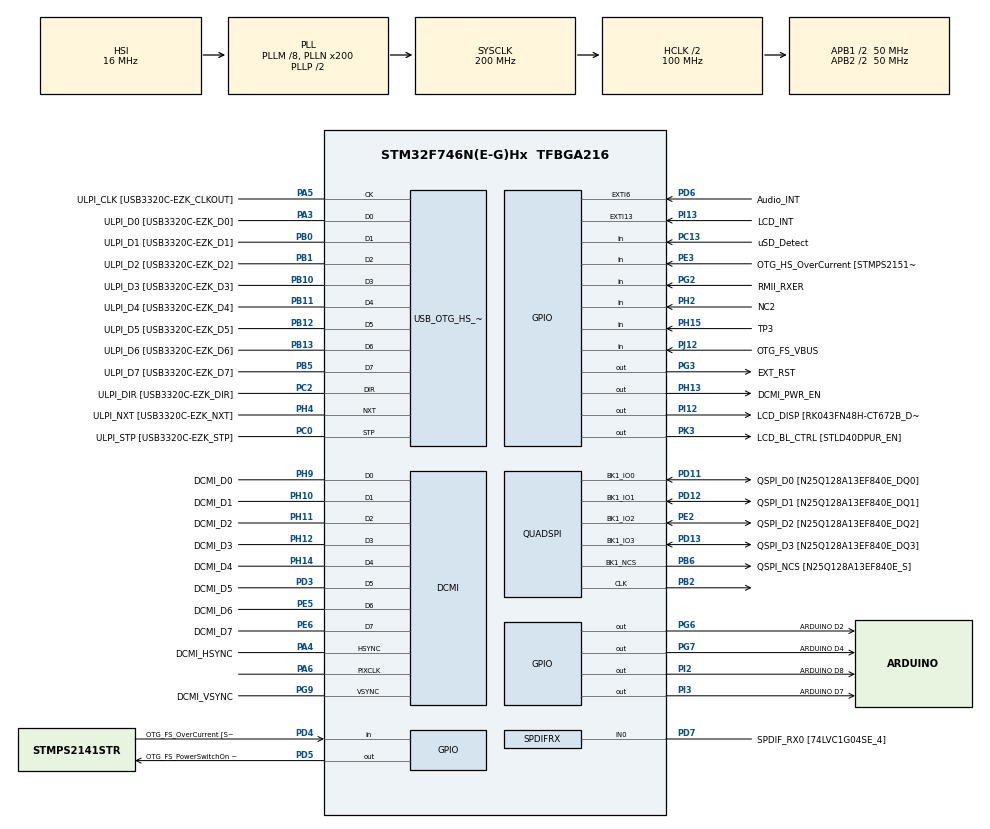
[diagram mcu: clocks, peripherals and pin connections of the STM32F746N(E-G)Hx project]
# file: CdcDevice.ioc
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FREERTOS.INCLUDE_vTaskDelayUntil=1
FREERTOS.Tasks01=defaultTask,0,128,StartDefaultTask;myTaskUSBSend,0,1280,StartTaskUSBSend
Mcu.Family=STM32F7
Mcu.Name=STM32F746N(E-G)Hx
Mcu.Package=TFBGA216
NVIC.OTG_HS_IRQn=true\:5\:0\:false
NVIC.PriorityGroup=NVIC_PRIORITYGROUP_4
PA0/WKUP.GPIO_Label=ARDUINO A0
PA0/WKUP.GPIO_Mode=GPIO_MODE_ANALOG
PA0/WKUP.GPIO_PuPd=GPIO_NOPULL
PA0/WKUP.Signal=ADCx_IN0
PA1.GPIO_Label=RMII_REF_CLK [LAN8742A-CZ-TR_REFCLK0]
PA1.GPIO_Mode=GPIO_MODE_AF_PP
PA1.GPIO_PuPd=GPIO_NOPULL
PA1.GPIO_Speed=GPIO_SPEED_HIGH
PA1.Signal=ETH_REF_CLK
PA10.GPIO_Label=OTG_FS_ID
PA10.GPIO_Mode=GPIO_MODE_AF_PP
PA10.GPIO_PuPd=GPIO_NOPULL
PA10.GPIO_Speed=GPIO_SPEED_HIGH
PA10.Signal=USB_OTG_FS_ID
PA11.GPIO_Label=OTG_FS_N
PA11.GPIO_Mode=GPIO_MODE_AF_PP
PA11.GPIO_PuPd=GPIO_NOPULL
PA11.GPIO_Speed=GPIO_SPEED_HIGH
PA11.Signal=USB_OTG_FS_DM
PA12.GPIO_Label=OTG_FS_P
PA12.GPIO_Mode=GPIO_MODE_AF_PP
PA12.GPIO_PuPd=GPIO_NOPULL
PA12.GPIO_Speed=GPIO_SPEED_HIGH
PA12.Signal=USB_OTG_FS_DP
PA13.GPIO_Label=SWDIO
PA13.Signal=SYS_JTMS-SWDIO
PA14.GPIO_Label=SWCLK
PA14.Signal=SYS_JTCK-SWCLK
PA15.GPIO_Label=ARDUINO PWM/D9
PA15.GPIO_ModeDefaultPP=GPIO_MODE_AF_PP
PA15.GPIO_PuPd=GPIO_NOPULL
PA15.GPIO_Speed=GPIO_SPEED_LOW
PA15.Signal=S_TIM2_CH1_ETR
PA2.GPIO_Label=RMII_MDIO [LAN8742A-CZ-TR_MDIO]
PA2.GPIO_Mode=GPIO_MODE_AF_PP
PA2.GPIO_PuPd=GPIO_NOPULL
PA2.GPIO_Speed=GPIO_SPEED_HIGH
PA2.Signal=ETH_MDIO
PA3.GPIO_Label=ULPI_D0 [USB3320C-EZK_D0]
PA3.GPIO_Mode=GPIO_MODE_AF_PP
PA3.GPIO_PuPd=GPIO_NOPULL
PA3.GPIO_Speed=GPIO_SPEED_HIGH
PA3.Mode=Device_HS
PA3.Signal=USB_OTG_HS_ULPI_D0
PA4.GPIO_Label=DCMI_HSYNC
PA4.GPIO_Mode=GPIO_MODE_AF_PP
PA4.GPIO_PuPd=GPIO_NOPULL
PA4.GPIO_Speed=GPIO_SPEED_LOW
PA4.Mode=Slave_8_bits_External_Synchro
PA4.Signal=DCMI_HSYNC
PA5.GPIO_Label=ULPI_CLK [USB3320C-EZK_CLKOUT]
PA5.GPIO_Mode=GPIO_MODE_AF_PP
PA5.GPIO_PuPd=GPIO_NOPULL
PA5.GPIO_Speed=GPIO_SPEED_HIGH
PA5.Mode=Device_HS
PA5.Signal=USB_OTG_HS_ULPI_CK
PA6.Mode=Slave_8_bits_External_Synchro
PA6.Signal=DCMI_PIXCLK
PA7.GPIO_Label=RMII_CRS_DV [LAN8742A-CZ-TR_CRS_DV]
PA7.GPIO_Mode=GPIO_MODE_AF_PP
PA7.GPIO_PuPd=GPIO_NOPULL
PA7.GPIO_Speed=GPIO_SPEED_HIGH
PA7.Signal=ETH_CRS_DV
PA8.GPIO_Label=ARDUINO PWM/D5
PA8.GPIO_ModeDefaultPP=GPIO_MODE_AF_PP
PA8.GPIO_PuPd=GPIO_NOPULL
PA8.GPIO_Speed=GPIO_SPEED_LOW
PA8.Signal=S_TIM1_CH1
PA9.GPIO_Label=VCP_TX [STM32F103CBT6_PA3]
PA9.GPIO_Mode=GPIO_MODE_AF_PP
PA9.GPIO_PuPd=GPIO_NOPULL
PA9.GPIO_Speed=GPIO_SPEED_LOW
PA9.Signal=USART1_TX
PB0.GPIO_Label=ULPI_D1 [USB3320C-EZK_D1]
PB0.GPIO_Mode=GPIO_MODE_AF_PP
PB0.GPIO_PuPd=GPIO_NOPULL
PB0.GPIO_Speed=GPIO_SPEED_HIGH
PB0.Mode=Device_HS
PB0.Signal=USB_OTG_HS_ULPI_D1
PB1.GPIO_Label=ULPI_D2 [USB3320C-EZK_D2]
PB1.GPIO_Mode=GPIO_MODE_AF_PP
PB1.GPIO_PuPd=GPIO_NOPULL
PB1.GPIO_Speed=GPIO_SPEED_HIGH
PB1.Mode=Device_HS
PB1.Signal=USB_OTG_HS_ULPI_D2
PB10.GPIO_Label=ULPI_D3 [USB3320C-EZK_D3]
PB10.GPIO_Mode=GPIO_MODE_AF_PP
PB10.GPIO_PuPd=GPIO_NOPULL
PB10.GPIO_Speed=GPIO_SPEED_HIGH
PB10.Mode=Device_HS
PB10.Signal=USB_OTG_HS_ULPI_D3
PB11.GPIO_Label=ULPI_D4 [USB3320C-EZK_D4]
PB11.GPIO_Mode=GPIO_MODE_AF_PP
PB11.GPIO_PuPd=GPIO_NOPULL
PB11.GPIO_Speed=GPIO_SPEED_HIGH
PB11.Mode=Device_HS
PB11.Signal=USB_OTG_HS_ULPI_D4
PB12.GPIO_Label=ULPI_D5 [USB3320C-EZK_D5]
PB12.GPIO_Mode=GPIO_MODE_AF_PP
PB12.GPIO_PuPd=GPIO_NOPULL
PB12.GPIO_Speed=GPIO_SPEED_HIGH
PB12.Mode=Device_HS
PB12.Signal=USB_OTG_HS_ULPI_D5
PB13.GPIO_Label=ULPI_D6 [USB3320C-EZK_D6]
PB13.GPIO_Mode=GPIO_MODE_AF_PP
PB13.GPIO_PuPd=GPIO_NOPULL
PB13.GPIO_Speed=GPIO_SPEED_HIGH
PB13.Mode=Device_HS
PB13.Signal=USB_OTG_HS_ULPI_D6
PB14.GPIO_Label=ARDUINO MISO/D12
PB14.GPIO_Mode=GPIO_MODE_AF_PP
PB14.GPIO_PuPd=GPIO_NOPULL
PB14.GPIO_Speed=GPIO_SPEED_LOW
PB14.Signal=SPI2_MISO
PB15.GPIO_Label=ARDUINO MOSI/PWM/D11
PB15.GPIO_Mode=GPIO_MODE_AF_PP
PB15.GPIO_PuPd=GPIO_NOPULL
PB15.GPIO_Speed=GPIO_SPEED_LOW
PB15.Signal=SPI2_MOSI
PB2.Mode=Single Bank 1
PB2.Signal=QUADSPI_CLK
PB3.GPIO_Label=SWO
PB3.Signal=SYS_JTDO-SWO
PB4.GPIO_Label=ARDUINO PWM/D3
PB4.GPIO_ModeDefaultPP=GPIO_MODE_AF_PP
PB4.GPIO_PuPd=GPIO_NOPULL
PB4.GPIO_Speed=GPIO_SPEED_LOW
PB4.Signal=S_TIM3_CH1
PB5.GPIO_Label=ULPI_D7 [USB3320C-EZK_D7]
PB5.GPIO_Mode=GPIO_MODE_AF_PP
PB5.GPIO_PuPd=GPIO_NOPULL
PB5.GPIO_Speed=GPIO_SPEED_HIGH
PB5.Mode=Device_HS
PB5.Signal=USB_OTG_HS_ULPI_D7
PB6.GPIO_Label=QSPI_NCS [N25Q128A13EF840E_S]
PB6.GPIO_Mode=GPIO_MODE_AF_PP
PB6.GPIO_PuPd=GPIO_NOPULL
PB6.GPIO_Speed=GPIO_SPEED_HIGH
PB6.Mode=Single Bank 1
PB6.Signal=QUADSPI_BK1_NCS
PB7.GPIO_Label=VCP_RX [STM32F103CBT6_PA2]
PB7.GPIO_Mode=GPIO_MODE_AF_PP
PB7.GPIO_PuPd=GPIO_NOPULL
PB7.GPIO_Speed=GPIO_SPEED_LOW
PB7.Signal=USART1_RX
PB8.GPIO_Label=ARDUINO SCL/D15
PB8.GPIO_Mode=GPIO_MODE_AF_OD
PB8.GPIO_PuPd=GPIO_NOPULL
PB8.GPIO_PuPdOD=GPIO_PULLUP
PB8.GPIO_Speed=GPIO_SPEED_LOW
PB8.Signal=I2C1_SCL
PB9.GPIO_Label=ARDUINO SDA/D14
PB9.GPIO_Mode=GPIO_MODE_AF_OD
PB9.GPIO_PuPd=GPIO_NOPULL
PB9.GPIO_PuPdOD=GPIO_PULLUP
PB9.GPIO_Speed=GPIO_SPEED_LOW
PB9.Signal=I2C1_SDA
PC0.GPIO_Label=ULPI_STP [USB3320C-EZK_STP]
PC0.GPIO_Mode=GPIO_MODE_AF_PP
PC0.GPIO_PuPd=GPIO_NOPULL
PC0.GPIO_Speed=GPIO_SPEED_HIGH
PC0.Mode=Device_HS
PC0.Signal=USB_OTG_HS_ULPI_STP
PC1.GPIO_Label=RMII_MDC [LAN8742A-CZ-TR_MDC]
PC1.GPIO_Mode=GPIO_MODE_AF_PP
PC1.GPIO_PuPd=GPIO_NOPULL
PC1.GPIO_Speed=GPIO_SPEED_HIGH
PC1.Signal=ETH_MDC
PC10.GPIO_Label=SDMMC_D2
PC10.GPIO_Mode=GPIO_MODE_AF_PP
PC10.GPIO_PuPd=GPIO_NOPULL
PC10.GPIO_Speed_High_Default=GPIO_SPEED_HIGH
PC10.Signal=SDMMC1_D2
PC11.GPIO_Label=SDMMC_D3
PC11.GPIO_Mode=GPIO_MODE_AF_PP
PC11.GPIO_PuPd=GPIO_NOPULL
PC11.GPIO_Speed_High_Default=GPIO_SPEED_HIGH
PC11.Signal=SDMMC1_D3
PC12.GPIO_Label=SDMMC_CK
PC12.GPIO_Mode=GPIO_MODE_AF_PP
PC12.GPIO_PuPd=GPIO_NOPULL
PC12.GPIO_Speed_High_Default=GPIO_SPEED_HIGH
PC12.Signal=SDMMC1_CK
PC13.GPIO_Label=uSD_Detect
PC13.GPIO_Mode=GPIO_MODE_INPUT
PC13.GPIO_PuPd=GPIO_NOPULL
PC13.Signal=GPIO_Input
PC14/OSC32_IN.GPIO_Label=RCC_OSC32_IN
PC14/OSC32_IN.Signal=RCC_OSC32_IN
PC15/OSC32_OUT.GPIO_Label=RCC_OSC32_OUT
PC15/OSC32_OUT.Signal=RCC_OSC32_OUT
PC2.GPIO_Label=ULPI_DIR [USB3320C-EZK_DIR]
PC2.GPIO_Mode=GPIO_MODE_AF_PP
PC2.GPIO_PuPd=GPIO_NOPULL
PC2.GPIO_Speed=GPIO_SPEED_HIGH
PC2.Mode=Device_HS
PC2.Signal=USB_OTG_HS_ULPI_DIR
PC3.GPIO_Label=FMC_SDCKE0 [MT48LC4M32B2B5-6A_CKE]
PC3.GPIO_Mode=GPIO_MODE_AF_PP
PC3.GPIO_PuPd=GPIO_NOPULL
PC3.GPIO_Speed_High_Default=GPIO_SPEED_HIGH
PC3.Signal=FMC_SDCKE0
PC4.GPIO_Label=RMII_RXD0 [LAN8742A-CZ-TR_RXD0]
PC4.GPIO_Mode=GPIO_MODE_AF_PP
PC4.GPIO_PuPd=GPIO_NOPULL
PC4.GPIO_Speed=GPIO_SPEED_HIGH
PC4.Signal=ETH_RXD0
PC5.GPIO_Label=RMII_RXD1 [LAN8742A-CZ-TR_RXD1]
PC5.GPIO_Mode=GPIO_MODE_AF_PP
PC5.GPIO_PuPd=GPIO_NOPULL
PC5.GPIO_Speed=GPIO_SPEED_HIGH
PC5.Signal=ETH_RXD1
PC6.GPIO_Label=ARDUINO TX/D1
PC6.GPIO_Mode=GPIO_MODE_AF_PP
PC6.GPIO_PuPd=GPIO_NOPULL
PC6.GPIO_Speed=GPIO_SPEED_HIGH
PC6.Signal=USART6_TX
PC7.GPIO_Label=ARDUINO RX/D0
PC7.GPIO_Mode=GPIO_MODE_AF_PP
PC7.GPIO_PuPd=GPIO_NOPULL
PC7.GPIO_Speed=GPIO_SPEED_HIGH
PC7.Signal=USART6_RX
PC8.Signal=SDMMC1_D0
PC9.Signal=SDMMC1_D1
PD0.GPIO_Label=FMC_D2 [MT48LC4M32B2B5-6A_DQ2]
PD0.GPIO_Mode=GPIO_MODE_AF_PP
PD0.GPIO_PuPd=GPIO_NOPULL
PD0.GPIO_Speed_High_Default=GPIO_SPEED_HIGH
PD0.Signal=FMC_D2_DA2
PD1.GPIO_Label=FMC_D3 [MT48LC4M32B2B5-6A_DQ3]
PD1.GPIO_Mode=GPIO_MODE_AF_PP
PD1.GPIO_PuPd=GPIO_NOPULL
PD1.GPIO_Speed_High_Default=GPIO_SPEED_HIGH
PD1.Signal=FMC_D3_DA3
PD10.GPIO_Label=FMC_D15 [MT48LC4M32B2B5-6A_DQ15]
PD10.GPIO_Mode=GPIO_MODE_AF_PP
PD10.GPIO_PuPd=GPIO_NOPULL
PD10.GPIO_Speed_High_Default=GPIO_SPEED_HIGH
PD10.Signal=FMC_D15_DA15
PD11.GPIO_Label=QSPI_D0 [N25Q128A13EF840E_DQ0]
PD11.GPIO_Mode=GPIO_MODE_AF_PP
PD11.GPIO_PuPd=GPIO_NOPULL
PD11.GPIO_Speed=GPIO_SPEED_HIGH
PD11.Mode=Single Bank 1
PD11.Signal=QUADSPI_BK1_IO0
PD12.GPIO_Label=QSPI_D1 [N25Q128A13EF840E_DQ1]
PD12.GPIO_Mode=GPIO_MODE_AF_PP
PD12.GPIO_PuPd=GPIO_NOPULL
PD12.GPIO_Speed=GPIO_SPEED_HIGH
PD12.Mode=Single Bank 1
PD12.Signal=QUADSPI_BK1_IO1
PD13.GPIO_Label=QSPI_D3 [N25Q128A13EF840E_DQ3]
PD13.GPIO_Mode=GPIO_MODE_AF_PP
PD13.GPIO_PuPd=GPIO_NOPULL
PD13.GPIO_Speed=GPIO_SPEED_HIGH
PD13.Mode=Single Bank 1
PD13.Signal=QUADSPI_BK1_IO3
PD14.GPIO_Label=FMC_D0 [MT48LC4M32B2B5-6A_DQ0]
PD14.GPIO_Mode=GPIO_MODE_AF_PP
PD14.GPIO_PuPd=GPIO_NOPULL
PD14.GPIO_Speed_High_Default=GPIO_SPEED_HIGH
PD14.Signal=FMC_D0_DA0
PD15.GPIO_Label=FMC_D1 [MT48LC4M32B2B5-6A_DQ1]
PD15.GPIO_Mode=GPIO_MODE_AF_PP
PD15.GPIO_PuPd=GPIO_NOPULL
PD15.GPIO_Speed_High_Default=GPIO_SPEED_HIGH
PD15.Signal=FMC_D1_DA1
PD2.GPIO_Label=SDMMC_D0
PD2.GPIO_Mode=GPIO_MODE_AF_PP
PD2.GPIO_PuPd=GPIO_NOPULL
PD2.GPIO_Speed_High_Default=GPIO_SPEED_HIGH
PD2.Signal=SDMMC1_CMD
PD3.GPIO_Label=DCMI_D5
PD3.GPIO_Mode=GPIO_MODE_AF_PP
PD3.GPIO_PuPd=GPIO_NOPULL
PD3.GPIO_Speed=GPIO_SPEED_LOW
PD3.Mode=Slave_8_bits_External_Synchro
PD3.Signal=DCMI_D5
PD4.GPIO_Label=OTG_FS_OverCurrent [STMPS2141STR_Fault]
PD4.GPIO_Mode=GPIO_MODE_INPUT
PD4.GPIO_PuPd=GPIO_NOPULL
PD4.Signal=GPIO_Input
PD5.GPIO_Label=OTG_FS_PowerSwitchOn [STMPS2141STR_EN]
PD5.GPIO_ModeDefaultOutputPP=GPIO_MODE_OUTPUT_PP
PD5.GPIO_PuPd=GPIO_NOPULL
PD5.GPIO_Speed=GPIO_SPEED_LOW
PD5.Signal=GPIO_Output
PD6.GPIO_Label=Audio_INT
PD6.GPIO_ModeDefaultEXTI=GPIO_MODE_EVT_RISING
PD6.GPIO_PuPd=GPIO_NOPULL
PD6.Signal=GPXTI6
PD7.GPIO_Label=SPDIF_RX0 [74LVC1G04SE_4]
PD7.GPIO_Mode=GPIO_MODE_AF_PP
PD7.GPIO_PuPd=GPIO_NOPULL
PD7.GPIO_Speed=GPIO_SPEED_LOW
PD7.Mode=IN0
PD7.Signal=SPDIFRX_IN0
PD8.GPIO_Label=FMC_D13 [MT48LC4M32B2B5-6A_DQ13]
PD8.GPIO_Mode=GPIO_MODE_AF_PP
PD8.GPIO_PuPd=GPIO_NOPULL
PD8.GPIO_Speed_High_Default=GPIO_SPEED_HIGH
PD8.Signal=FMC_D13_DA13
PD9.GPIO_Label=FMC_D14 [MT48LC4M32B2B5-6A_DQ14]
PD9.GPIO_Mode=GPIO_MODE_AF_PP
PD9.GPIO_PuPd=GPIO_NOPULL
PD9.GPIO_Speed_High_Default=GPIO_SPEED_HIGH
PD9.Signal=FMC_D14_DA14
PE0.GPIO_Label=FMC_NBL0 [MT48LC4M32B2B5-6A_DQM0]
PE0.GPIO_Mode=GPIO_MODE_AF_PP
PE0.GPIO_PuPd=GPIO_NOPULL
PE0.GPIO_Speed_High_Default=GPIO_SPEED_HIGH
PE0.Signal=FMC_NBL0
PE1.GPIO_Label=FMC_NBL1 [MT48LC4M32B2B5-6A_DQM1]
PE1.GPIO_Mode=GPIO_MODE_AF_PP
PE1.GPIO_PuPd=GPIO_NOPULL
PE1.GPIO_Speed_High_Default=GPIO_SPEED_HIGH
PE1.Signal=FMC_NBL1
PE10.GPIO_Label=FMC_D7 [MT48LC4M32B2B5-6A_DQ7]
PE10.GPIO_Mode=GPIO_MODE_AF_PP
PE10.GPIO_PuPd=GPIO_NOPULL
PE10.GPIO_Speed_High_Default=GPIO_SPEED_HIGH
PE10.Signal=FMC_D7_DA7
PE11.GPIO_Label=FMC_D8 [MT48LC4M32B2B5-6A_DQ8]
PE11.GPIO_Mode=GPIO_MODE_AF_PP
PE11.GPIO_PuPd=GPIO_NOPULL
PE11.GPIO_Speed_High_Default=GPIO_SPEED_HIGH
PE11.Signal=FMC_D8_DA8
PE12.GPIO_Label=FMC_D9 [MT48LC4M32B2B5-6A_DQ9]
PE12.GPIO_Mode=GPIO_MODE_AF_PP
PE12.GPIO_PuPd=GPIO_NOPULL
PE12.GPIO_Speed_High_Default=GPIO_SPEED_HIGH
PE12.Signal=FMC_D9_DA9
PE13.GPIO_Label=FMC_D10 [MT48LC4M32B2B5-6A_DQ10]
PE13.GPIO_Mode=GPIO_MODE_AF_PP
PE13.GPIO_PuPd=GPIO_NOPULL
PE13.GPIO_Speed_High_Default=GPIO_SPEED_HIGH
PE13.Signal=FMC_D10_DA10
PE14.GPIO_Label=FMC_D11 [MT48LC4M32B2B5-6A_DQ11]
PE14.GPIO_Mode=GPIO_MODE_AF_PP
PE14.GPIO_PuPd=GPIO_NOPULL
PE14.GPIO_Speed_High_Default=GPIO_SPEED_HIGH
PE14.Signal=FMC_D11_DA11
PE15.GPIO_Label=FMC_D12 [MT48LC4M32B2B5-6A_DQ12]
PE15.GPIO_Mode=GPIO_MODE_AF_PP
PE15.GPIO_PuPd=GPIO_NOPULL
PE15.GPIO_Speed_High_Default=GPIO_SPEED_HIGH
PE15.Signal=FMC_D12_DA12
PE2.GPIO_Label=QSPI_D2 [N25Q128A13EF840E_DQ2]
PE2.GPIO_Mode=GPIO_MODE_AF_PP
PE2.GPIO_PuPd=GPIO_NOPULL
PE2.GPIO_Speed=GPIO_SPEED_HIGH
PE2.Mode=Single Bank 1
PE2.Signal=QUADSPI_BK1_IO2
PE3.GPIO_Label=OTG_HS_OverCurrent [STMPS2151STR_FAULT]
PE3.GPIO_Mode=GPIO_MODE_INPUT
PE3.GPIO_PuPd=GPIO_NOPULL
PE3.Signal=GPIO_Input
PE4.GPIO_Label=LCD_B0 [RK043FN48H-CT672B_B0]
PE4.GPIO_Mode=GPIO_MODE_AF_PP
PE4.GPIO_PuPd=GPIO_NOPULL
PE4.GPIO_Speed=GPIO_SPEED_LOW
PE4.Signal=LTDC_B0
PE5.GPIO_Label=DCMI_D6
PE5.GPIO_Mode=GPIO_MODE_AF_PP
PE5.GPIO_PuPd=GPIO_NOPULL
PE5.GPIO_Speed=GPIO_SPEED_LOW
PE5.Mode=Slave_8_bits_External_Synchro
PE5.Signal=DCMI_D6
PE6.GPIO_Label=DCMI_D7
PE6.GPIO_Mode=GPIO_MODE_AF_PP
PE6.GPIO_PuPd=GPIO_NOPULL
PE6.GPIO_Speed=GPIO_SPEED_LOW
PE6.Mode=Slave_8_bits_External_Synchro
PE6.Signal=DCMI_D7
PE7.GPIO_Label=FMC_D4 [MT48LC4M32B2B5-6A_DQ4]
PE7.GPIO_Mode=GPIO_MODE_AF_PP
PE7.GPIO_PuPd=GPIO_NOPULL
PE7.GPIO_Speed_High_Default=GPIO_SPEED_HIGH
PE7.Signal=FMC_D4_DA4
PE8.GPIO_Label=FMC_D5 [MT48LC4M32B2B5-6A_DQ5]
PE8.GPIO_Mode=GPIO_MODE_AF_PP
PE8.GPIO_PuPd=GPIO_NOPULL
PE8.GPIO_Speed_High_Default=GPIO_SPEED_HIGH
PE8.Signal=FMC_D5_DA5
PE9.GPIO_Label=FMC_D6 [MT48LC4M32B2B5-6A_DQ6]
PE9.GPIO_Mode=GPIO_MODE_AF_PP
PE9.GPIO_PuPd=GPIO_NOPULL
PE9.GPIO_Speed_High_Default=GPIO_SPEED_HIGH
PE9.Signal=FMC_D6_DA6
PF0.GPIO_Label=FMC_A0 [MT48LC4M32B2B5-6A_A0]
PF0.GPIO_Mode=GPIO_MODE_AF_PP
PF0.GPIO_PuPd=GPIO_NOPULL
PF0.GPIO_Speed_High_Default=GPIO_SPEED_HIGH
PF0.Signal=FMC_A0
PF1.GPIO_Label=FMC_A1 [MT48LC4M32B2B5-6A_A1]
PF1.GPIO_Mode=GPIO_MODE_AF_PP
PF1.GPIO_PuPd=GPIO_NOPULL
PF1.GPIO_Speed_High_Default=GPIO_SPEED_HIGH
PF1.Signal=FMC_A1
PF10.GPIO_Label=ARDUINO A1
PF10.GPIO_Mode=GPIO_MODE_ANALOG
PF10.GPIO_PuPd=GPIO_NOPULL
PF10.Signal=ADC3_IN8
PF11.GPIO_Label=FMC_SDNRAS [MT48LC4M32B2B5-6A_RAS]
PF11.GPIO_Mode=GPIO_MODE_AF_PP
PF11.GPIO_PuPd=GPIO_NOPULL
PF11.GPIO_Speed_High_Default=GPIO_SPEED_HIGH
PF11.Signal=FMC_SDNRAS
PF12.GPIO_Label=FMC_A6 [MT48LC4M32B2B5-6A_A6]
PF12.GPIO_Mode=GPIO_MODE_AF_PP
PF12.GPIO_PuPd=GPIO_NOPULL
PF12.GPIO_Speed_High_Default=GPIO_SPEED_HIGH
PF12.Signal=FMC_A6
PF13.GPIO_Label=FMC_A7 [MT48LC4M32B2B5-6A_A7]
PF13.GPIO_Mode=GPIO_MODE_AF_PP
PF13.GPIO_PuPd=GPIO_NOPULL
PF13.GPIO_Speed_High_Default=GPIO_SPEED_HIGH
PF13.Signal=FMC_A7
PF14.GPIO_Label=FMC_A8 [MT48LC4M32B2B5-6A_A8]
PF14.GPIO_Mode=GPIO_MODE_AF_PP
PF14.GPIO_PuPd=GPIO_NOPULL
PF14.GPIO_Speed_High_Default=GPIO_SPEED_HIGH
PF14.Signal=FMC_A8
PF15.GPIO_Label=FMC_A9 [MT48LC4M32B2B5-6A_A9]
PF15.GPIO_Mode=GPIO_MODE_AF_PP
PF15.GPIO_PuPd=GPIO_NOPULL
PF15.GPIO_Speed_High_Default=GPIO_SPEED_HIGH
PF15.Signal=FMC_A9
PF2.GPIO_Label=FMC_A2 [MT48LC4M32B2B5-6A_A2]
PF2.GPIO_Mode=GPIO_MODE_AF_PP
PF2.GPIO_PuPd=GPIO_NOPULL
PF2.GPIO_Speed_High_Default=GPIO_SPEED_HIGH
PF2.Signal=FMC_A2
PF3.GPIO_Label=FMC_A3 [MT48LC4M32B2B5-6A_A3]
PF3.GPIO_Mode=GPIO_MODE_AF_PP
PF3.GPIO_PuPd=GPIO_NOPULL
PF3.GPIO_Speed_High_Default=GPIO_SPEED_HIGH
PF3.Signal=FMC_A3
PF4.GPIO_Label=FMC_A4 [MT48LC4M32B2B5-6A_A4]
PF4.GPIO_Mode=GPIO_MODE_AF_PP
PF4.GPIO_PuPd=GPIO_NOPULL
PF4.GPIO_Speed_High_Default=GPIO_SPEED_HIGH
PF4.Signal=FMC_A4
PF5.GPIO_Label=FMC_A5 [MT48LC4M32B2B5-6A_A5]
PF5.GPIO_Mode=GPIO_MODE_AF_PP
PF5.GPIO_PuPd=GPIO_NOPULL
PF5.GPIO_Speed_High_Default=GPIO_SPEED_HIGH
PF5.Signal=FMC_A5
PF6.GPIO_Label=ARDUINO A5
PF6.GPIO_Mode=GPIO_MODE_ANALOG
PF6.GPIO_PuPd=GPIO_NOPULL
PF6.Signal=ADC3_IN4
PF7.GPIO_Label=ARDUINO A4
PF7.GPIO_Mode=GPIO_MODE_ANALOG
PF7.GPIO_PuPd=GPIO_NOPULL
PF7.Signal=ADC3_IN5
PF8.GPIO_Label=ARDUINO A3
PF8.GPIO_Mode=GPIO_MODE_ANALOG
PF8.GPIO_PuPd=GPIO_NOPULL
PF8.Signal=ADC3_IN6
PF9.GPIO_Label=ARDUINO A2
PF9.GPIO_Mode=GPIO_MODE_ANALOG
PF9.GPIO_PuPd=GPIO_NOPULL
PF9.Signal=ADC3_IN7
PG0.GPIO_Label=FMC_A10 [MT48LC4M32B2B5-6A_A10]
PG0.GPIO_Mode=GPIO_MODE_AF_PP
PG0.GPIO_PuPd=GPIO_NOPULL
PG0.GPIO_Speed_High_Default=GPIO_SPEED_HIGH
PG0.Signal=FMC_A10
PG1.GPIO_Label=FMC_A11 [MT48LC4M32B2B5-6A_A11]
PG1.GPIO_Mode=GPIO_MODE_AF_PP
PG1.GPIO_PuPd=GPIO_NOPULL
PG1.GPIO_Speed_High_Default=GPIO_SPEED_HIGH
PG1.Signal=FMC_A11
PG10.GPIO_Label=SAI2_SDB [WM8994ECS/R_ADCDAT1]
PG10.GPIO_Mode=GPIO_MODE_AF_PP
PG10.GPIO_PuPd=GPIO_NOPULL
PG10.GPIO_Speed=GPIO_SPEED_LOW
PG10.Signal=SAI2_SD_B
PG11.GPIO_Label=RMII_TX_EN [LAN8742A-CZ-TR_TXEN]
PG11.GPIO_Mode=GPIO_MODE_AF_PP
PG11.GPIO_PuPd=GPIO_NOPULL
PG11.GPIO_Speed=GPIO_SPEED_HIGH
PG11.Signal=ETH_TX_EN
PG12.GPIO_Label=LCD_B4 [RK043FN48H-CT672B_B4]
PG12.GPIO_Mode=GPIO_MODE_AF_PP
PG12.GPIO_PuPd=GPIO_NOPULL
PG12.GPIO_Speed=GPIO_SPEED_LOW
PG12.Signal=LTDC_B4
PG13.GPIO_Label=RMII_TXD0 [LAN8742A-CZ-TR_TXD0]
PG13.GPIO_Mode=GPIO_MODE_AF_PP
PG13.GPIO_PuPd=GPIO_NOPULL
PG13.GPIO_Speed=GPIO_SPEED_HIGH
PG13.Signal=ETH_TXD0
PG14.GPIO_Label=RMII_TXD1 [LAN8742A-CZ-TR_TXD1]
PG14.GPIO_Mode=GPIO_MODE_AF_PP
PG14.GPIO_PuPd=GPIO_NOPULL
PG14.GPIO_Speed=GPIO_SPEED_HIGH
PG14.Signal=ETH_TXD1
PG15.GPIO_Label=FMC_SDNCAS [MT48LC4M32B2B5-6A_CAS]
PG15.GPIO_Mode=GPIO_MODE_AF_PP
PG15.GPIO_PuPd=GPIO_NOPULL
PG15.GPIO_Speed_High_Default=GPIO_SPEED_HIGH
PG15.Signal=FMC_SDNCAS
PG2.GPIO_Label=RMII_RXER
PG2.GPIO_Mode=GPIO_MODE_INPUT
PG2.GPIO_PuPd=GPIO_NOPULL
PG2.Signal=GPIO_Input
PG3.GPIO_Label=EXT_RST
PG3.GPIO_ModeDefaultOutputPP=GPIO_MODE_OUTPUT_PP
PG3.GPIO_PuPd=GPIO_NOPULL
PG3.GPIO_Speed=GPIO_SPEED_LOW
PG3.Signal=GPIO_Output
PG4.GPIO_Label=FMC_BA0 [MT48LC4M32B2B5-6A_BA0]
PG4.GPIO_Mode=GPIO_MODE_AF_PP
PG4.GPIO_PuPd=GPIO_NOPULL
PG4.GPIO_Speed_High_Default=GPIO_SPEED_HIGH
PG4.Signal=FMC_A14_BA0
PG5.GPIO_Label=FMC_BA1 [MT48LC4M32B2B5-6A_BA1]
PG5.GPIO_Mode=GPIO_MODE_AF_PP
PG5.GPIO_PuPd=GPIO_NOPULL
PG5.GPIO_Speed_High_Default=GPIO_SPEED_HIGH
PG5.Signal=FMC_A15_BA1
PG6.GPIO_Label=ARDUINO D2
PG6.GPIO_ModeDefaultOutputPP=GPIO_MODE_OUTPUT_PP
PG6.GPIO_PuPd=GPIO_NOPULL
PG6.GPIO_Speed=GPIO_SPEED_LOW
PG6.Signal=GPIO_Output
PG7.GPIO_Label=ARDUINO D4
PG7.GPIO_ModeDefaultOutputPP=GPIO_MODE_OUTPUT_PP
PG7.GPIO_PuPd=GPIO_NOPULL
PG7.GPIO_Speed=GPIO_SPEED_LOW
PG7.Signal=GPIO_Output
PG8.GPIO_Label=FMC_SDCLK [MT48LC4M32B2B5-6A_CLK]
PG8.GPIO_Mode=GPIO_MODE_AF_PP
PG8.GPIO_PuPd=GPIO_NOPULL
PG8.GPIO_Speed_High_Default=GPIO_SPEED_HIGH
PG8.Signal=FMC_SDCLK
PG9.GPIO_Label=DCMI_VSYNC
PG9.GPIO_Mode=GPIO_MODE_AF_PP
PG9.GPIO_PuPd=GPIO_NOPULL
PG9.GPIO_Speed=GPIO_SPEED_LOW
PG9.Mode=Slave_8_bits_External_Synchro
PG9.Signal=DCMI_VSYNC
PH0/OSC_IN.GPIO_Label=OSC_25M [NZ2520SB-25.00M_OUT]
PH0/OSC_IN.Signal=RCC_OSC_IN
PH1/OSC_OUT.Signal=RCC_OSC_OUT
PH10.GPIO_Label=DCMI_D1
PH10.GPIO_Mode=GPIO_MODE_AF_PP
PH10.GPIO_PuPd=GPIO_NOPULL
PH10.GPIO_Speed=GPIO_SPEED_LOW
PH10.Mode=Slave_8_bits_External_Synchro
PH10.Signal=DCMI_D1
PH11.GPIO_Label=DCMI_D2
PH11.GPIO_Mode=GPIO_MODE_AF_PP
PH11.GPIO_PuPd=GPIO_NOPULL
PH11.GPIO_Speed=GPIO_SPEED_LOW
PH11.Mode=Slave_8_bits_External_Synchro
PH11.Signal=DCMI_D2
PH12.GPIO_Label=DCMI_D3
PH12.GPIO_Mode=GPIO_MODE_AF_PP
PH12.GPIO_PuPd=GPIO_NOPULL
PH12.GPIO_Speed=GPIO_SPEED_LOW
PH12.Mode=Slave_8_bits_External_Synchro
PH12.Signal=DCMI_D3
PH13.GPIO_Label=DCMI_PWR_EN
PH13.GPIO_ModeDefaultOutputPP=GPIO_MODE_OUTPUT_PP
PH13.GPIO_PuPd=GPIO_NOPULL
PH13.GPIO_Speed=GPIO_SPEED_LOW
PH13.Signal=GPIO_Output
PH14.GPIO_Label=DCMI_D4
PH14.GPIO_Mode=GPIO_MODE_AF_PP
PH14.GPIO_PuPd=GPIO_NOPULL
PH14.GPIO_Speed=GPIO_SPEED_LOW
PH14.Mode=Slave_8_bits_External_Synchro
PH14.Signal=DCMI_D4
PH15.GPIO_Label=TP3
PH15.GPIO_Mode=GPIO_MODE_INPUT
PH15.GPIO_PuPd=GPIO_NOPULL
PH15.Signal=GPIO_Input
PH2.GPIO_Label=NC2
PH2.GPIO_Mode=GPIO_MODE_INPUT
PH2.GPIO_PuPd=GPIO_NOPULL
PH2.Signal=GPIO_Input
PH3.GPIO_Label=FMC_SDNE0 [MT48LC4M32B2B5-6A_CS]
PH3.GPIO_Mode=GPIO_MODE_AF_PP
PH3.GPIO_PuPd=GPIO_NOPULL
PH3.GPIO_Speed_High_Default=GPIO_SPEED_HIGH
PH3.Signal=FMC_SDNE0
PH4.GPIO_Label=ULPI_NXT [USB3320C-EZK_NXT]
PH4.GPIO_Mode=GPIO_MODE_AF_PP
PH4.GPIO_PuPd=GPIO_NOPULL
PH4.GPIO_Speed=GPIO_SPEED_HIGH
PH4.Mode=Device_HS
PH4.Signal=USB_OTG_HS_ULPI_NXT
PH5.GPIO_Label=FMC_SDNME [MT48LC4M32B2B5-6A_WE]
PH5.GPIO_Mode=GPIO_MODE_AF_PP
PH5.GPIO_PuPd=GPIO_NOPULL
PH5.GPIO_Speed_High_Default=GPIO_SPEED_HIGH
PH5.Signal=FMC_SDNWE
PH6.GPIO_Label=ARDUINO PWM/D6
PH6.GPIO_ModeDefaultPP=GPIO_MODE_AF_PP
PH6.GPIO_PuPd=GPIO_NOPULL
PH6.GPIO_Speed=GPIO_SPEED_LOW
PH6.Signal=S_TIM12_CH1
PH7.GPIO_Label=LCD_SCL [RK043FN48H-CT672B_SCL]
PH7.GPIO_Mode=GPIO_MODE_AF_OD
PH7.GPIO_PuPdOD=GPIO_PULLUP
PH7.GPIO_Speed=GPIO_SPEED_HIGH
PH7.Signal=I2C3_SCL
PH8.GPIO_Label=LCD_SDA [RK043FN48H-CT672B_SDA]
PH8.GPIO_Mode=GPIO_MODE_AF_OD
PH8.GPIO_PuPdOD=GPIO_PULLUP
PH8.GPIO_Speed=GPIO_SPEED_HIGH
PH8.Signal=I2C3_SDA
PH9.GPIO_Label=DCMI_D0
PH9.GPIO_Mode=GPIO_MODE_AF_PP
PH9.GPIO_PuPd=GPIO_NOPULL
PH9.GPIO_Speed=GPIO_SPEED_LOW
PH9.Mode=Slave_8_bits_External_Synchro
PH9.Signal=DCMI_D0
PI0.GPIO_Label=ARDUINO PWM/CS/D10
PI0.GPIO_ModeDefaultPP=GPIO_MODE_AF_PP
PI0.GPIO_PuPd=GPIO_NOPULL
PI0.GPIO_Speed=GPIO_SPEED_LOW
PI0.Signal=S_TIM5_CH4
PI1.GPIO_Label=ARDUINO SCK/D13
PI1.GPIO_Mode=GPIO_MODE_AF_PP
PI1.GPIO_PuPd=GPIO_NOPULL
PI1.GPIO_Speed=GPIO_SPEED_LOW
PI1.Signal=SPI2_SCK
PI10.GPIO_Label=LCD_HSYNC [RK043FN48H-CT672B_HSYNC]
PI10.GPIO_Mode=GPIO_MODE_AF_PP
PI10.GPIO_PuPd=GPIO_NOPULL
PI10.GPIO_Speed=GPIO_SPEED_LOW
PI10.Signal=LTDC_HSYNC
PI11.GPIO_Label=B_USER
PI11.Mode=SYS-WakeUp-4
PI11.Signal=SYS_WKUP4
PI12.GPIO_Label=LCD_DISP [RK043FN48H-CT672B_DISP] 
PI12.GPIO_ModeDefaultOutputPP=GPIO_MODE_OUTPUT_PP
PI12.GPIO_PuPd=GPIO_NOPULL
PI12.GPIO_Speed=GPIO_SPEED_LOW
PI12.Signal=GPIO_Output
PI13.GPIO_Label=LCD_INT
PI13.GPIO_ModeDefaultEXTI=GPIO_MODE_EVT_RISING
PI13.GPIO_PuPd=GPIO_NOPULL
PI13.Signal=GPXTI13
PI14.GPIO_Label=LCD_CLK [RK043FN48H-CT672B_CLK]
PI14.GPIO_Mode=GPIO_MODE_AF_PP
PI14.GPIO_PuPd=GPIO_NOPULL
PI14.GPIO_Speed=GPIO_SPEED_LOW
PI14.Signal=LTDC_CLK
PI15.GPIO_Label=LCD_R0 [RK043FN48H-CT672B_R0]
PI15.GPIO_Mode=GPIO_MODE_AF_PP
PI15.GPIO_PuPd=GPIO_NOPULL
PI15.GPIO_Speed=GPIO_SPEED_LOW
PI15.Signal=LTDC_R0
PI2.GPIO_Label=ARDUINO D8
PI2.GPIO_ModeDefaultOutputPP=GPIO_MODE_OUTPUT_PP
PI2.GPIO_PuPd=GPIO_NOPULL
PI2.GPIO_Speed=GPIO_SPEED_LOW
PI2.Signal=GPIO_Output
PI3.GPIO_Label=ARDUINO D7
PI3.GPIO_ModeDefaultOutputPP=GPIO_MODE_OUTPUT_PP
PI3.GPIO_PuPd=GPIO_NOPULL
PI3.GPIO_Speed=GPIO_SPEED_LOW
PI3.Signal=GPIO_Output
PI4.GPIO_Label=SAI2_MCLKA [WM8994ECS/R_MCLK1]
PI4.GPIO_Mode=GPIO_MODE_AF_PP
PI4.GPIO_PuPd=GPIO_NOPULL
PI4.GPIO_Speed=GPIO_SPEED_LOW
PI4.Signal=SAI2_MCLK_A
PI5.GPIO_Label=SAI2_SCKA [WM8994ECS/R_BCLK1]
PI5.GPIO_Mode=GPIO_MODE_AF_PP
PI5.GPIO_PuPd=GPIO_NOPULL
PI5.GPIO_Speed=GPIO_SPEED_LOW
PI5.Signal=SAI2_SCK_A
PI6.GPIO_Label=SAI2_SDA [WM8994ECS/R_DACDAT1]
PI6.GPIO_Mode=GPIO_MODE_AF_PP
PI6.GPIO_PuPd=GPIO_NOPULL
PI6.GPIO_Speed=GPIO_SPEED_LOW
PI6.Signal=SAI2_SD_A
PI7.GPIO_Label=SAI2_FSA [WM8994ECS/R_LRCLK1]
PI7.GPIO_Mode=GPIO_MODE_AF_PP
PI7.GPIO_PuPd=GPIO_NOPULL
PI7.GPIO_Speed=GPIO_SPEED_LOW
PI7.Signal=SAI2_FS_A
PI8.GPIO_Label=NC1 [TP2]
PI8.Signal=RTC_TS
PI9.GPIO_Label=LCD_VSYNC [RK043FN48H-CT672B_VSYNC]
PI9.GPIO_Mode=GPIO_MODE_AF_PP
PI9.GPIO_PuPd=GPIO_NOPULL
PI9.GPIO_Speed=GPIO_SPEED_LOW
PI9.Signal=LTDC_VSYNC
PJ0.GPIO_Label=LCD_R1 [RK043FN48H-CT672B_R1]
PJ0.GPIO_Mode=GPIO_MODE_AF_PP
PJ0.GPIO_PuPd=GPIO_NOPULL
PJ0.GPIO_Speed=GPIO_SPEED_LOW
PJ0.Signal=LTDC_R1
PJ1.GPIO_Label=LCD_R2 [RK043FN48H-CT672B_R2]
PJ1.GPIO_Mode=GPIO_MODE_AF_PP
PJ1.GPIO_PuPd=GPIO_NOPULL
PJ1.GPIO_Speed=GPIO_SPEED_LOW
PJ1.Signal=LTDC_R2
PJ10.GPIO_Label=LCD_G3 [RK043FN48H-CT672B_G3]
PJ10.GPIO_Mode=GPIO_MODE_AF_PP
PJ10.GPIO_PuPd=GPIO_NOPULL
PJ10.GPIO_Speed=GPIO_SPEED_LOW
PJ10.Signal=LTDC_G3
PJ11.GPIO_Label=LCD_G4 [RK043FN48H-CT672B_G4]
PJ11.GPIO_Mode=GPIO_MODE_AF_PP
PJ11.GPIO_PuPd=GPIO_NOPULL
PJ11.GPIO_Speed=GPIO_SPEED_LOW
PJ11.Signal=LTDC_G4
PJ12.GPIO_Label=OTG_FS_VBUS
PJ12.GPIO_Mode=GPIO_MODE_INPUT
PJ12.GPIO_PuPd=GPIO_NOPULL
PJ12.Signal=GPIO_Input
PJ13.GPIO_Label=LCD_B1 [RK043FN48H-CT672B_B1]
PJ13.GPIO_Mode=GPIO_MODE_AF_PP
PJ13.GPIO_PuPd=GPIO_NOPULL
PJ13.GPIO_Speed=GPIO_SPEED_LOW
PJ13.Signal=LTDC_B1
PJ14.GPIO_Label=LCD_B2 [RK043FN48H-CT672B_B2]
PJ14.GPIO_Mode=GPIO_MODE_AF_PP
PJ14.GPIO_PuPd=GPIO_NOPULL
PJ14.GPIO_Speed=GPIO_SPEED_LOW
PJ14.Signal=LTDC_B2
PJ15.GPIO_Label=LCD_B3 [RK043FN48H-CT672B_B3]
PJ15.GPIO_Mode=GPIO_MODE_AF_PP
PJ15.GPIO_PuPd=GPIO_NOPULL
PJ15.GPIO_Speed=GPIO_SPEED_LOW
PJ15.Signal=LTDC_B3
PJ2.GPIO_Label=LCD_R3 [RK043FN48H-CT672B_R3]
PJ2.GPIO_Mode=GPIO_MODE_AF_PP
PJ2.GPIO_PuPd=GPIO_NOPULL
PJ2.GPIO_Speed=GPIO_SPEED_LOW
PJ2.Signal=LTDC_R3
PJ3.GPIO_Label=LCD_R4 [RK043FN48H-CT672B_R4]
PJ3.GPIO_Mode=GPIO_MODE_AF_PP
PJ3.GPIO_PuPd=GPIO_NOPULL
PJ3.GPIO_Speed=GPIO_SPEED_LOW
PJ3.Signal=LTDC_R4
PJ4.GPIO_Label=LCD_R5 [RK043FN48H-CT672B_R5]
PJ4.GPIO_Mode=GPIO_MODE_AF_PP
PJ4.GPIO_PuPd=GPIO_NOPULL
PJ4.GPIO_Speed=GPIO_SPEED_LOW
PJ4.Signal=LTDC_R5
PJ5.GPIO_Label=LCD_R6 [RK043FN48H-CT672B_R6]
PJ5.GPIO_Mode=GPIO_MODE_AF_PP
PJ5.GPIO_PuPd=GPIO_NOPULL
PJ5.GPIO_Speed=GPIO_SPEED_LOW
PJ5.Signal=LTDC_R6
PJ6.GPIO_Label=LCD_R7 [RK043FN48H-CT672B_R7]
PJ6.GPIO_Mode=GPIO_MODE_AF_PP
PJ6.GPIO_PuPd=GPIO_NOPULL
PJ6.GPIO_Speed=GPIO_SPEED_LOW
PJ6.Signal=LTDC_R7
PJ7.GPIO_Label=LCD_G0 [RK043FN48H-CT672B_G0]
PJ7.GPIO_Mode=GPIO_MODE_AF_PP
PJ7.GPIO_PuPd=GPIO_NOPULL
PJ7.GPIO_Speed=GPIO_SPEED_LOW
PJ7.Signal=LTDC_G0
PJ8.GPIO_Label=LCD_G1 [RK043FN48H-CT672B_G1]
PJ8.GPIO_Mode=GPIO_MODE_AF_PP
PJ8.GPIO_PuPd=GPIO_NOPULL
PJ8.GPIO_Speed=GPIO_SPEED_LOW
PJ8.Signal=LTDC_G1
PJ9.GPIO_Label=LCD_G2 [RK043FN48H-CT672B_G2]
PJ9.GPIO_Mode=GPIO_MODE_AF_PP
PJ9.GPIO_PuPd=GPIO_NOPULL
PJ9.GPIO_Speed=GPIO_SPEED_LOW
PJ9.Signal=LTDC_G2
PK0.GPIO_Label=LCD_G5 [RK043FN48H-CT672B_G5]
PK0.GPIO_Mode=GPIO_MODE_AF_PP
PK0.GPIO_PuPd=GPIO_NOPULL
PK0.GPIO_Speed=GPIO_SPEED_LOW
PK0.Signal=LTDC_G5
PK1.GPIO_Label=LCD_G6 [RK043FN48H-CT672B_G6]
PK1.GPIO_Mode=GPIO_MODE_AF_PP
PK1.GPIO_PuPd=GPIO_NOPULL
PK1.GPIO_Speed=GPIO_SPEED_LOW
PK1.Signal=LTDC_G6
PK2.GPIO_Label=LCD_G7 [RK043FN48H-CT672B_G7]
PK2.GPIO_Mode=GPIO_MODE_AF_PP
PK2.GPIO_PuPd=GPIO_NOPULL
PK2.GPIO_Speed=GPIO_SPEED_LOW
PK2.Signal=LTDC_G7
PK3.GPIO_Label=LCD_BL_CTRL [STLD40DPUR_EN]
PK3.GPIO_ModeDefaultOutputPP=GPIO_MODE_OUTPUT_PP
PK3.GPIO_PuPd=GPIO_NOPULL
PK3.GPIO_Speed=GPIO_SPEED_LOW
PK3.Signal=GPIO_Output
PK4.GPIO_Label=LCD_B5 [RK043FN48H-CT672B_B5]
PK4.GPIO_Mode=GPIO_MODE_AF_PP
PK4.GPIO_PuPd=GPIO_NOPULL
PK4.GPIO_Speed=GPIO_SPEED_LOW
PK4.Signal=LTDC_B5
PK5.GPIO_Label=LCD_B6 [RK043FN48H-CT672B_B6]
PK5.GPIO_Mode=GPIO_MODE_AF_PP
PK5.GPIO_PuPd=GPIO_NOPULL
PK5.GPIO_Speed=GPIO_SPEED_LOW
PK5.Signal=LTDC_B6
PK6.GPIO_Label=LCD_B7 [RK043FN48H-CT672B_B7]
PK6.GPIO_Mode=GPIO_MODE_AF_PP
PK6.GPIO_PuPd=GPIO_NOPULL
PK6.GPIO_Speed=GPIO_SPEED_LOW
PK6.Signal=LTDC_B7
PK7.GPIO_Label=LCD_DE [RK043FN48H-CT672B_DE]
PK7.GPIO_Mode=GPIO_MODE_AF_PP
PK7.GPIO_PuPd=GPIO_NOPULL
PK7.GPIO_Speed=GPIO_SPEED_LOW
PK7.Signal=LTDC_DE
ProjectManager.TargetToolchain=SW4STM32
RCC.AHBCLKDivider=RCC_SYSCLK_DIV2
RCC.AHBFreq_Value=100000000
RCC.APB1CLKDivider=RCC_HCLK_DIV2
RCC.APB1Freq_Value=50000000
RCC.APB1TimFreq_Value=100000000
RCC.APB2CLKDivider=RCC_HCLK_DIV2
RCC.APB2Freq_Value=50000000
RCC.APB2TimFreq_Value=100000000
RCC.CortexFreq_Value=100000000
RCC.HCLKFreq_Value=100000000
RCC.HSE_VALUE=25000000
RCC.HSI_VALUE=16000000
RCC.LSE_VALUE=32768
RCC.LockedElements=AHBOutput
RCC.PLLI2SN=96
RCC.PLLM=8
RCC.PLLN=200
RCC.SYSCLKFreq_VALUE=200000000
RCC.SYSCLKSource=RCC_SYSCLKSOURCE_PLLCLK
RCC.USBFreq_Value=200000000
RCC.VCOOutputFreq_Value=400000000
SH.ADCx_IN0.0=ADC3_IN0
SH.FMC_A0.0=FMC_A0
SH.FMC_A1.0=FMC_A1
SH.FMC_A10.0=FMC_A10
SH.FMC_A11.0=FMC_A11
SH.FMC_A14_BA0.0=FMC_BA0
SH.FMC_A15_BA1.0=FMC_BA1
SH.FMC_A2.0=FMC_A2
SH.FMC_A3.0=FMC_A3
SH.FMC_A4.0=FMC_A4
SH.FMC_A5.0=FMC_A5
SH.FMC_A6.0=FMC_A6
SH.FMC_A7.0=FMC_A7
SH.FMC_A8.0=FMC_A8
SH.FMC_A9.0=FMC_A9
SH.FMC_D0_DA0.0=FMC_D0
SH.FMC_D10_DA10.0=FMC_D10
SH.FMC_D11_DA11.0=FMC_D11
SH.FMC_D12_DA12.0=FMC_D12
SH.FMC_D13_DA13.0=FMC_D13
SH.FMC_D14_DA14.0=FMC_D14
SH.FMC_D15_DA15.0=FMC_D15
SH.FMC_D1_DA1.0=FMC_D1
SH.FMC_D2_DA2.0=FMC_D2
SH.FMC_D3_DA3.0=FMC_D3
SH.FMC_D4_DA4.0=FMC_D4
SH.FMC_D5_DA5.0=FMC_D5
SH.FMC_D6_DA6.0=FMC_D6
SH.FMC_D7_DA7.0=FMC_D7
SH.FMC_D8_DA8.0=FMC_D8
SH.FMC_D9_DA9.0=FMC_D9
SH.FMC_NBL0.0=FMC_NBL0
SH.FMC_NBL1.0=FMC_NBL1
SH.FMC_SDCLK.0=FMC_SDCLK
SH.FMC_SDNCAS.0=FMC_SDNCAS
SH.FMC_SDNRAS.0=FMC_SDNRAS
SH.FMC_SDNWE.0=FMC_SDNWE
SH.S_TIM12_CH1.0=TIM12_CH1
SH.S_TIM1_CH1.0=TIM1_CH1
SH.S_TIM2_CH1_ETR.0=TIM2_CH1
SH.S_TIM3_CH1.0=TIM3_CH1
SH.S_TIM5_CH4.0=TIM5_CH4
USB_DEVICE.CLASS_NAME-CDC_HS=CDC
USB_DEVICE.USBD_HandleTypeDef-CDC_HS=hUsbDeviceHS
USB_DEVICE.VirtualMode-CDC_HS=Cdc
USB_DEVICE.VirtualModeHS=Cdc_HS
USB_OTG_HS.VirtualMode-Device_HS=Device_HS
VP_FREERTOS_VS_ENABLE.Mode=Enabled
VP_USB_DEVICE_VS_USB_DEVICE_CDC_HS.Mode=CDC_HS
board=STM32F746G-DISCO

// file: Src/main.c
/**
  ******************************************************************************
  * File Name          : main.c
  * Description        : Main program body
  ******************************************************************************
  *
  * COPYRIGHT(c) 2015 STMicroelectronics
  *
  * Redistribution and use in source and binary forms, with or without modification,
  * are permitted provided that the following conditions are met:
  *   1. Redistributions of source code must retain the above copyright notice,
  *      this list of conditions and the following disclaimer.
  *   2. Redistributions in binary form must reproduce the above copyright notice,
  *      this list of conditions and the following disclaimer in the documentation
  *      and/or other materials provided with the distribution.
  *   3. Neither the name of STMicroelectronics nor the names of its contributors
  *      may be used to endorse or promote products derived from this software
  *      without specific prior written permission.
  *
  * THIS SOFTWARE IS PROVIDED BY THE COPYRIGHT HOLDERS AND CONTRIBUTORS "AS IS"
  * AND ANY EXPRESS OR IMPLIED WARRANTIES, INCLUDING, BUT NOT LIMITED TO, THE
  * IMPLIED WARRANTIES OF MERCHANTABILITY AND FITNESS FOR A PARTICULAR PURPOSE ARE
  * DISCLAIMED. IN NO EVENT SHALL THE COPYRIGHT HOLDER OR CONTRIBUTORS BE LIABLE
  * FOR ANY DIRECT, INDIRECT, INCIDENTAL, SPECIAL, EXEMPLARY, OR CONSEQUENTIAL
  * DAMAGES (INCLUDING, BUT NOT LIMITED TO, PROCUREMENT OF SUBSTITUTE GOODS OR
  * SERVICES; LOSS OF USE, DATA, OR PROFITS; OR BUSINESS INTERRUPTION) HOWEVER
  * CAUSED AND ON ANY THEORY OF LIABILITY, WHETHER IN CONTRACT, STRICT LIABILITY,
  * OR TORT (INCLUDING NEGLIGENCE OR OTHERWISE) ARISING IN ANY WAY OUT OF THE USE
  * OF THIS SOFTWARE, EVEN IF ADVISED OF THE POSSIBILITY OF SUCH DAMAGE.
  *
  ******************************************************************************
  */
#include "stm32f7xx_hal.h"
#include "cmsis_os.h"
#include "dcmi.h"
#include "quadspi.h"
#include "spdifrx.h"
#include "usb_device.h"
#include "gpio.h"
#include "usbd_cdc_if.h"

/* USER CODE BEGIN PV */
/* Private variables ---------------------------------------------------------*/

/* USER CODE END PV */

void SystemClock_Config(void);
void MX_FREERTOS_Init(void);
/* USER CODE BEGIN 32 */
void convertIntToStr(int data, char* resultBuffer, const uint16_t len);
void StrNCopy(char* dest, const char* src, size_t maxLenDest);
void StrNCat(char* dest, const char* src, size_t maxAppendLen);
/* USER CODE END 32 */
/* USER CODE BEGIN PFP */
/* Private function prototypes -----------------------------------------------*/

/* USER CODE END PFP */

int main(void)
{

  /* MCU Configuration----------------------------------------------------------*/

  /* Reset of all peripherals, Initializes the Flash interface and the Systick. */
  HAL_Init();

  /* Configure the system clock */
  SystemClock_Config();

  /* Initialize all configured peripherals */
  MX_GPIO_Init();
  MX_DCMI_Init();
  MX_QUADSPI_Init();
  MX_SPDIFRX_Init();

  /* Call init function for freertos objects (in freertos.c) */
  MX_FREERTOS_Init();

  /* Start scheduler */
  osKernelStart();

  /* We should never get here as control is now taken by the scheduler */

  /* Infinite loop */
  while (1)
  {

  }

}

/* USER CODE BEGIN 31 */
void StrNCopy(char* dest, const char* src, size_t maxLenOfDest)
{
	//size_t maxCpyLen = 0;
	//size_t destLen = strlen(dest);
	size_t srcLen = strlen(src);
	if(srcLen <= maxLenOfDest)
	{
		strncpy(dest,src,srcLen);
	}
	else
	{
		strncpy(dest,src,maxLenOfDest);
		dest[maxLenOfDest-1]='\0';
	}
}
void StrNCat(char* dest, const char* src, size_t maxLenOfDest)
{
	int maxAppendLen = maxLenOfDest - strlen(dest);
	size_t srcLen = strlen(src);
	if(maxAppendLen >= srcLen)
	{
		strncat(dest,src,srcLen);
	}
	else
	{
		strncat(dest,src,maxAppendLen);
		dest[maxLenOfDest-1]='\0';
	}

}
void convertIntToStr(int data, char* resultBuffer, const uint16_t  maxLen)
{
	snprintf ( resultBuffer, maxLen, "%d",data);
}
/* USER CODE END 31 */

/* USER CODE BEGIN Application */
/* StartTaskUSBSend function */
void StartTaskUSBSend(void const * argument)
{
  /* USER CODE BEGIN StartTaskUSBSend */
  /* Infinite loop */

  char sendtext[100];
  char sendData[500]={0xFF};
  //char countBuffer[50];
  //uint8_t *rxbuffer;
  int count=0;
  StrNCopy(sendtext,"USB Transfer ",100);
 // CDC_Transmit_HS((uint8_t*)sendBuffer, (uint16_t)strlen(sendBuffer));
  for(;;)
  {
    osDelay(3000);
    count++;

    convertIntToStr(count,sendtext,(uint16_t)50);
    StrNCat(sendtext,"\r\n",100);
    CDC_Transmit_HS((uint8_t*)sendtext, (uint16_t)strlen(sendtext));

    if(count%2 == 0)
    	memset(sendData,'a',495);
    else
    	memset(sendData,'b',495);

    StrNCat(sendData,"\r\n",500);
    sendData[498]='\0';
    CDC_Transmit_HS((uint8_t*)sendData, (uint16_t)strlen(sendData));

//    convertIntToStr(count,sendtext,(uint16_t)50);
//    StrNCat(sendtext,"\r\n",100);
    CDC_Transmit_HS((uint8_t*)sendtext, (uint16_t)strlen(sendtext));

  }
  /* USER CODE END StartTaskUSBSend */
}

/* USER CODE END Application */

/** System Clock Configuration
*/
void SystemClock_Config(void)
{

  RCC_OscInitTypeDef RCC_OscInitStruct;
  RCC_ClkInitTypeDef RCC_ClkInitStruct;
  RCC_PeriphCLKInitTypeDef PeriphClkInitStruct;

  __PWR_CLK_ENABLE();

  __HAL_PWR_VOLTAGESCALING_CONFIG(PWR_REGULATOR_VOLTAGE_SCALE3);

  RCC_OscInitStruct.OscillatorType = RCC_OSCILLATORTYPE_HSI;
  RCC_OscInitStruct.HSIState = RCC_HSI_ON;
  RCC_OscInitStruct.HSICalibrationValue = 16;
  RCC_OscInitStruct.PLL.PLLState = RCC_PLL_ON;
  RCC_OscInitStruct.PLL.PLLSource = RCC_PLLSOURCE_HSI;
  RCC_OscInitStruct.PLL.PLLM = 8;
  RCC_OscInitStruct.PLL.PLLN = 200;
  RCC_OscInitStruct.PLL.PLLP = RCC_PLLP_DIV2;
  RCC_OscInitStruct.PLL.PLLQ = 2;
  HAL_RCC_OscConfig(&RCC_OscInitStruct);

  HAL_PWREx_ActivateOverDrive();

  RCC_ClkInitStruct.ClockType = RCC_CLOCKTYPE_HCLK|RCC_CLOCKTYPE_SYSCLK
                              |RCC_CLOCKTYPE_PCLK1|RCC_CLOCKTYPE_PCLK2;
  RCC_ClkInitStruct.SYSCLKSource = RCC_SYSCLKSOURCE_PLLCLK;
  RCC_ClkInitStruct.AHBCLKDivider = RCC_SYSCLK_DIV2;
  RCC_ClkInitStruct.APB1CLKDivider = RCC_HCLK_DIV2;
  RCC_ClkInitStruct.APB2CLKDivider = RCC_HCLK_DIV2;
  HAL_RCC_ClockConfig(&RCC_ClkInitStruct, FLASH_LATENCY_3);

  PeriphClkInitStruct.PeriphClockSelection = RCC_PERIPHCLK_SPDIFRX;
  PeriphClkInitStruct.PLLI2S.PLLI2SN = 96;
  PeriphClkInitStruct.PLLI2S.PLLI2SP = RCC_PLLP_DIV2;
  PeriphClkInitStruct.PLLI2S.PLLI2SR = 2;
  PeriphClkInitStruct.PLLI2S.PLLI2SQ = 2;
  PeriphClkInitStruct.PLLI2SDivQ = 1;
  HAL_RCCEx_PeriphCLKConfig(&PeriphClkInitStruct);

  HAL_SYSTICK_Config(HAL_RCC_GetHCLKFreq()/1000);

  HAL_SYSTICK_CLKSourceConfig(SYSTICK_CLKSOURCE_HCLK);

}

/************************ (C) COPYRIGHT STMicroelectronics *****END OF FILE****/

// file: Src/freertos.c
/**
  ******************************************************************************
  * File Name          : freertos.c
  * Description        : Code for freertos applications
  ******************************************************************************
  *
  * COPYRIGHT(c) 2015 STMicroelectronics
  *
  * Redistribution and use in source and binary forms, with or without modification,
  * are permitted provided that the following conditions are met:
  *   1. Redistributions of source code must retain the above copyright notice,
  *      this list of conditions and the following disclaimer.
  *   2. Redistributions in binary form must reproduce the above copyright notice,
  *      this list of conditions and the following disclaimer in the documentation
  *      and/or other materials provided with the distribution.
  *   3. Neither the name of STMicroelectronics nor the names of its contributors
  *      may be used to endorse or promote products derived from this software
  *      without specific prior written permission.
  *
  * THIS SOFTWARE IS PROVIDED BY THE COPYRIGHT HOLDERS AND CONTRIBUTORS "AS IS"
  * AND ANY EXPRESS OR IMPLIED WARRANTIES, INCLUDING, BUT NOT LIMITED TO, THE
  * IMPLIED WARRANTIES OF MERCHANTABILITY AND FITNESS FOR A PARTICULAR PURPOSE ARE
  * DISCLAIMED. IN NO EVENT SHALL THE COPYRIGHT HOLDER OR CONTRIBUTORS BE LIABLE
  * FOR ANY DIRECT, INDIRECT, INCIDENTAL, SPECIAL, EXEMPLARY, OR CONSEQUENTIAL
  * DAMAGES (INCLUDING, BUT NOT LIMITED TO, PROCUREMENT OF SUBSTITUTE GOODS OR
  * SERVICES; LOSS OF USE, DATA, OR PROFITS; OR BUSINESS INTERRUPTION) HOWEVER
  * CAUSED AND ON ANY THEORY OF LIABILITY, WHETHER IN CONTRACT, STRICT LIABILITY,
  * OR TORT (INCLUDING NEGLIGENCE OR OTHERWISE) ARISING IN ANY WAY OUT OF THE USE
  * OF THIS SOFTWARE, EVEN IF ADVISED OF THE POSSIBILITY OF SUCH DAMAGE.
  *
  ******************************************************************************
  */

#include "FreeRTOS.h"
#include "task.h"
#include "cmsis_os.h"

osThreadId defaultTaskHandle;
osThreadId myTaskUSBSendHandle;

void StartDefaultTask(void const * argument);

extern void MX_USB_DEVICE_Init(void);
void MX_FREERTOS_Init(void); /* (MISRA C 2004 rule 8.1) */

/* Hook prototypes */

/* Init FreeRTOS */

void MX_FREERTOS_Init(void) {

  /* Create the thread(s) */
  /* definition and creation of defaultTask */
  osThreadDef(defaultTask, StartDefaultTask, osPriorityNormal, 0, 128);
  defaultTaskHandle = osThreadCreate(osThread(defaultTask), NULL);

  /* definition and creation of myTaskUSBSend */
  osThreadDef(myTaskUSBSend, StartTaskUSBSend, osPriorityNormal, 0, 1280);
  myTaskUSBSendHandle = osThreadCreate(osThread(myTaskUSBSend), NULL);

}

/* StartDefaultTask function */
void StartDefaultTask(void const * argument)
{
  /* init code for USB_DEVICE */
  MX_USB_DEVICE_Init();

  for(;;)
  {
    osDelay(1);
  }
}

/************************ (C) COPYRIGHT STMicroelectronics *****END OF FILE****/
